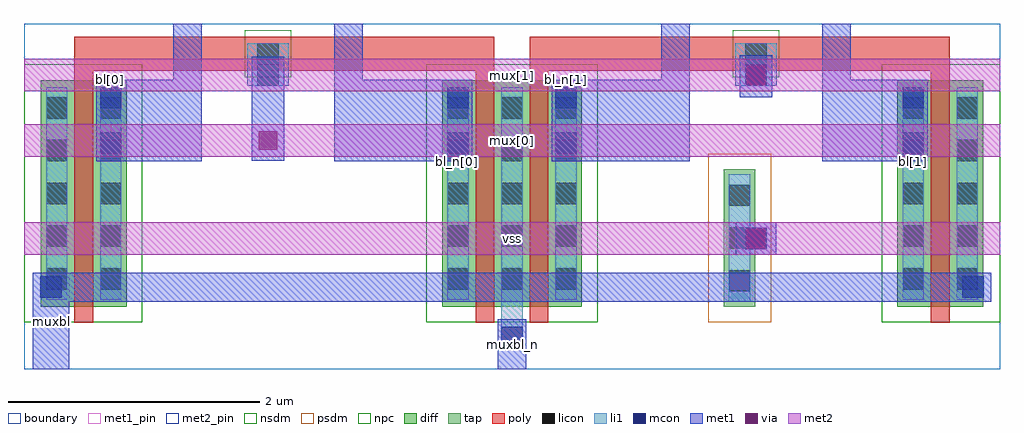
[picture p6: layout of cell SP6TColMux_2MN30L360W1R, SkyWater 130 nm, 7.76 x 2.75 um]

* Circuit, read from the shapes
.subckt SP6TColMux_2MN30L360W1R bl[0] bl[1] bl_n[0] bl_n[1] mux[0] mux[1] muxbl muxbl_n vss
XM1 bl[0] mux[0] muxbl vss sky130_fd_pr__nfet_01v8 w=1.8 l=0.15
XM2 muxbl_n mux[0] bl_n[0] vss sky130_fd_pr__nfet_01v8 w=1.8 l=0.15
XM3 bl_n[1] mux[1] muxbl_n vss sky130_fd_pr__nfet_01v8 w=1.8 l=0.15
XM4 muxbl mux[1] bl[1] vss sky130_fd_pr__nfet_01v8 w=1.8 l=0.15
.ends

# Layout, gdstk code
import gdstk
lib = gdstk.Library(unit=1e-6, precision=1e-09)
def R(c, l, rs):  # rectangles x0, y0, x1, y1
    for r in rs: c.add(gdstk.rectangle(r[:2], r[2:], *l))
def A(c, l, x, y, w, h, nx, ny, dx, dy):  # array of equal rectangles
    R(c, l, [(x+i*dx, y+j*dy, x+i*dx+w, y+j*dy+h) for i in range(nx) for j in range(ny)])
def P(c, l, *ps):  # polygons
    for p in ps: c.add(gdstk.Polygon(p, *l))
diff = (65, 20)
tap = (65, 44)
poly = (66, 20)
licon = (66, 44)
li1 = (67, 20)
mcon = (67, 44)
met1_pin = (68, 16)
met1 = (68, 20)
via = (68, 44)
met2_pin = (69, 16)
met2 = (69, 20)
nsdm = (93, 44)
psdm = (94, 20)
npc = (95, 20)
boundary = (235, 4)

sp6tcolmux_2mn30l360w1r = lib.new_cell('SP6TColMux_2MN30L360W1R')
R(sp6tcolmux_2mn30l360w1r, diff, [(0.135,0.5,0.815,2.3), (3.325,0.5,4.435,2.3), (6.945,0.5,7.625,2.3)])
R(sp6tcolmux_2mn30l360w1r, tap, [(5.565,0.5,5.815,1.59)])
P(sp6tcolmux_2mn30l360w1r, poly, [(0.4,0.37),(0.4,2.645),(3.74,2.645),(3.74,0.37),(3.59,0.37),(3.59,2.375),(0.55,2.375),(0.55,0.37)],
  [(4.02,0.37),(4.02,2.645),(7.36,2.645),(7.36,0.37),(7.21,0.37),(7.21,2.375),(4.17,2.375),(4.17,0.37)])
A(sp6tcolmux_2mn30l360w1r, licon, 5.605, 0.62, 0.17, 0.17, 1, 3, 0, 0.34)
A(sp6tcolmux_2mn30l360w1r, licon, 0.175, 0.635, 0.17, 0.17, 1, 5, 0, 0.34)
A(sp6tcolmux_2mn30l360w1r, licon, 0.605, 0.635, 0.17, 0.17, 1, 5, 0, 0.34)
A(sp6tcolmux_2mn30l360w1r, licon, 3.365, 0.635, 0.17, 0.17, 3, 5, 0.43, 0.34)
A(sp6tcolmux_2mn30l360w1r, licon, 6.985, 0.635, 0.17, 0.17, 1, 5, 0, 0.34)
A(sp6tcolmux_2mn30l360w1r, licon, 7.415, 0.635, 0.17, 0.17, 1, 5, 0, 0.34)
R(sp6tcolmux_2mn30l360w1r, licon, [(1.855,2.425,2.025,2.595), (5.735,2.425,5.905,2.595)])
R(sp6tcolmux_2mn30l360w1r, li1, [(3.795,0.17,3.965,2.245), (0.605,0.555,0.775,2.245), (3.365,0.555,3.535,2.245), (4.225,0.555,4.395,2.245), (6.985,0.555,7.155,2.245), (1.775,2.255,2.105,2.595), (5.655,2.255,5.985,2.595)])
P(sp6tcolmux_2mn30l360w1r, li1, [(7.415,0.555),(7.415,2.245),(7.585,2.245),(7.585,0.74),(7.63,0.74),(7.63,0.57),(7.585,0.57),(7.585,0.555)],
  [(0.175,0.555),(0.175,0.57),(0.13,0.57),(0.13,0.74),(0.175,0.74),(0.175,2.245),(0.345,2.245),(0.345,0.555)],
  [(5.605,0.54),(5.605,1.55),(5.775,1.55),(5.775,1.125),(5.905,1.125),(5.905,0.955),(5.775,0.955),(5.775,0.54)])
R(sp6tcolmux_2mn30l360w1r, mcon, [(3.795,0.17,3.965,0.34), (0.13,0.57,0.3,0.74), (7.46,0.57,7.63,0.74), (5.735,0.955,5.905,1.125), (0.605,1.715,0.775,1.885), (3.365,1.715,3.535,1.885), (4.225,1.715,4.395,1.885), (6.985,1.715,7.155,1.885), (0.605,2.075,0.775,2.245), (3.365,2.075,3.535,2.245), (4.225,2.075,4.395,2.245), (6.985,2.075,7.155,2.245), (1.855,2.255,2.025,2.425), (5.735,2.255,5.905,2.425)])
R(sp6tcolmux_2mn30l360w1r, met1_pin, [(0.07,0,0.36,0.77), (3.765,0,3.995,0.4)])
P(sp6tcolmux_2mn30l360w1r, met1_pin, [(6.345,1.655),(6.345,2.75),(6.575,2.75),(6.575,2.305),(7.07,2.305),(7.07,1.655)],
  [(4.31,1.655),(4.31,2.305),(5.065,2.305),(5.065,2.75),(5.295,2.75),(5.295,1.655)],
  [(2.465,1.655),(2.465,2.75),(2.695,2.75),(2.695,2.305),(3.45,2.305),(3.45,1.655)],
  [(0.69,1.655),(0.69,2.305),(1.185,2.305),(1.185,2.75),(1.415,2.75),(1.415,1.655)])
R(sp6tcolmux_2mn30l360w1r, met1, [(3.765,0,3.995,0.4), (5.66,0.91,5.98,1.17), (1.81,1.66,2.07,2.485), (5.69,2.165,5.95,2.5)])
P(sp6tcolmux_2mn30l360w1r, met1, [(6.345,1.655),(6.345,2.75),(6.575,2.75),(6.575,2.305),(7.185,2.305),(7.185,1.655)],
  [(4.195,1.655),(4.195,2.305),(5.065,2.305),(5.065,2.75),(5.295,2.75),(5.295,1.655)],
  [(2.465,1.655),(2.465,2.75),(2.695,2.75),(2.695,2.305),(3.565,2.305),(3.565,1.655)],
  [(0.575,1.655),(0.575,2.305),(1.185,2.305),(1.185,2.75),(1.415,2.75),(1.415,1.655)],
  [(0.07,0),(0.07,0.77),(7.69,0.77),(7.69,0.54),(0.36,0.54),(0.36,0)])
R(sp6tcolmux_2mn30l360w1r, via, [(5.745,0.965,5.895,1.115), (1.865,1.745,2.015,1.895), (5.745,2.265,5.895,2.415)])
R(sp6tcolmux_2mn30l360w1r, met2_pin, [(0,0.91,7.76,1.17), (0,1.69,7.76,1.95), (0,2.21,7.76,2.47)])
R(sp6tcolmux_2mn30l360w1r, met2, [(0,0.91,7.76,1.17), (0,1.69,7.76,1.95), (0,2.21,7.76,2.47)])
R(sp6tcolmux_2mn30l360w1r, nsdm, [(0,0.375,0.94,2.425), (3.2,0.375,4.56,2.425), (6.82,0.375,7.76,2.425)])
R(sp6tcolmux_2mn30l360w1r, psdm, [(5.44,0.375,5.94,1.715)])
R(sp6tcolmux_2mn30l360w1r, npc, [(1.755,2.325,2.125,2.695), (5.635,2.325,6.005,2.695)])
R(sp6tcolmux_2mn30l360w1r, boundary, [(0,0,7.76,2.75)])
sp6tcolmux_2mn30l360w1r.add(gdstk.Label('mux[1]', (3.88,2.34), layer=69, texttype=16))
sp6tcolmux_2mn30l360w1r.add(gdstk.Label('mux[0]', (3.88,1.82), layer=69, texttype=16))
sp6tcolmux_2mn30l360w1r.add(gdstk.Label('vss', (3.88,1.04), layer=69, texttype=16))
sp6tcolmux_2mn30l360w1r.add(gdstk.Label('bl_n[1]', (4.31,2.305), layer=68, texttype=16))
sp6tcolmux_2mn30l360w1r.add(gdstk.Label('muxbl_n', (3.88,0.2), layer=68, texttype=16))
sp6tcolmux_2mn30l360w1r.add(gdstk.Label('bl[1]', (7.07,1.655), layer=68, texttype=16))
sp6tcolmux_2mn30l360w1r.add(gdstk.Label('bl_n[0]', (3.45,1.655), layer=68, texttype=16))
sp6tcolmux_2mn30l360w1r.add(gdstk.Label('bl[0]', (0.69,2.305), layer=68, texttype=16))
sp6tcolmux_2mn30l360w1r.add(gdstk.Label('muxbl', (0.215,0.385), layer=68, texttype=16))

lib.write_gds('SP6TColMux_2MN30L360W1R.gds')
